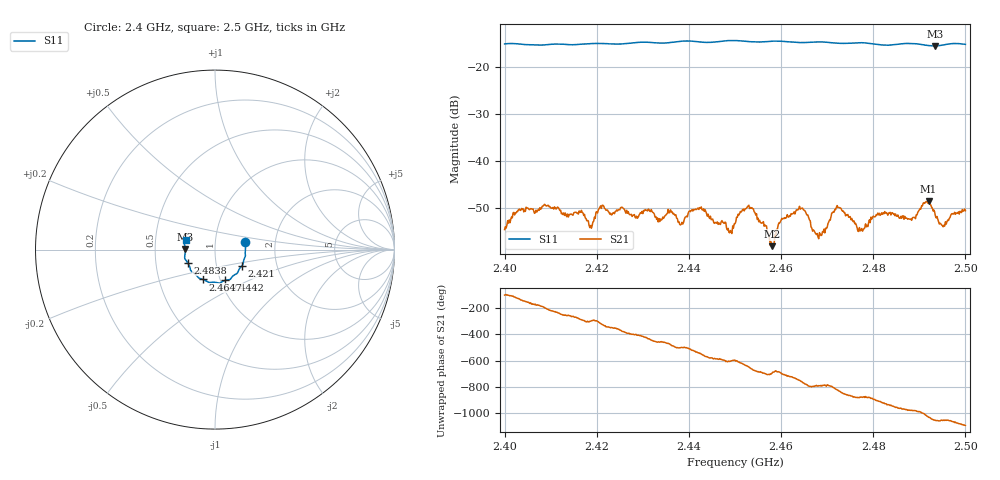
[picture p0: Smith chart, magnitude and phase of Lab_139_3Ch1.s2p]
# Hz S RI R 50
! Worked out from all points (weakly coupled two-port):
!   601 points, 2.4 GHz to 2.5 GHz, reference 50 ohm
!   highest |S21| = -48.61 dB at 2.492 GHz (marker M1); lowest = -58.1 dB at 2.458 GHz (marker M2)
!   lowest |S11| = -15.6 dB at 2.4935 GHz (marker M3), VSWR 1.40, Z = 35.8 + j0.209 ohm
!   |S11| at or under -10 dB: start of sweep to end of sweep
!   S12 and S22 are empty: the file has one direction only
!   S11 on the Smith chart (normalised r, x): 2.4 GHz: 1.40, +0.12; 2.421 GHz: 1.33, -0.24; 2.4442 GHz: 1.05, -0.37; 2.4647 GHz: 0.83, -0.29; 2.4838 GHz: 0.73, -0.11; 2.5 GHz: 0.72, +0.08
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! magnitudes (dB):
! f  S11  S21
! 2.4 GHz  -15.2  -54.6
! 2.4035 GHz  -15.3  -50.5
! 2.4167 GHz  -15.3  -50.5
! 2.4188 GHz  -15.1  -54.3
! 2.421 GHz  -15.1  -50.1
! 2.4333 GHz  -15.0  -53.0
! 2.4442 GHz  -14.9  -51.3
! 2.45 GHz  -14.5  -53.4
! 2.4535 GHz  -14.7  -50.1
! 2.458 GHz  -14.7  -58.1
! 2.46 GHz  -14.6  -52.6
! 2.4647 GHz  -14.9  -50.0
! 2.4667 GHz  -14.8  -54.3
! 2.4685 GHz  -14.8  -55.6
! 2.4725 GHz  -15.1  -49.9
! 2.4772 GHz  -14.9  -54.9
! 2.4833 GHz  -15.5  -51.1
! 2.4838 GHz  -15.5  -51.5
! 2.492 GHz  -15.6  -48.6
! 2.4935 GHz  -15.6  -51.7
! 2.4953 GHz  -15.4  -53.6
! 2.5 GHz  -15.3  -50.6
